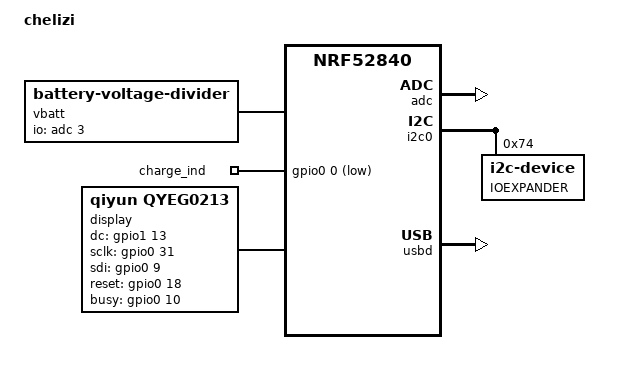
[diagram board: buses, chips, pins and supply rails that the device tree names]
/*
 * Copyright (c) 2020 The ZMK Contributors
 *
 * SPDX-License-Identifier: MIT
 */

/dts-v1/;
#include <nordic/nrf52840_qiaa.dtsi>
#include "chelizi-pinctrl.dtsi"
#include "chelizi-matrix.dtsi"

/ {
    model = "chelizi";
    compatible = "beeender,chelizi";

    chosen {
        zephyr,code-partition = &code_partition;
        zephyr,sram = &sram0;
        zephyr,flash = &flash0;
        zephyr,display = &display;
        zmk,battery = &vbatt;
    };

    vbatt: vbatt {
        compatible = "zmk,battery-voltage-divider";
        io-channels = <&adc 3>;
        output-ohms = <2000000>;
        full-ohms = <(2000000 + 820000)>;
    };

    indicators {
        compatible = "gpio-keys";
        charge_ind {
            gpios = <&gpio0 0 (GPIO_PULL_UP | GPIO_ACTIVE_LOW)>;
        };
    };

    display: display {
        compatible = "qiyun,qyeg0213";
        status = "okay";
        height = <122>;
        width = <250>;

        dc-gpios = <&gpio1 13 GPIO_ACTIVE_HIGH>;
        cs-gpios = <&gpio0 30 GPIO_ACTIVE_HIGH>;
        sclk-gpios = <&gpio0 31 GPIO_ACTIVE_HIGH>;
        sdi-gpios = <&gpio0 9 GPIO_ACTIVE_HIGH>;
        reset-gpios = <&gpio0 18 GPIO_ACTIVE_HIGH>;

        busy-gpios = <&gpio0 10 GPIO_PULL_DOWN>;
    };
};

&adc {
    status = "okay";
};

&gpiote {
    status = "okay";
};

&gpio0 {
    status = "okay";
};

&gpio1 {
    status = "okay";
};

&i2c0 {
    compatible = "nordic,nrf-twi";
    pinctrl-0 = <&i2c0_default>;
    pinctrl-1 = <&i2c0_sleep>;
    pinctrl-names = "default", "sleep";
    status = "okay";

    ioexpander: ioexpander@74{
        compatible = "i2c-device";
        reg = < 0x74 >;
        label = "IOEXPANDER";
    };
};

zephyr_udc0: &usbd {
    status = "okay";
};

&flash0 {
    /*
     * For more information, see:
     * http://docs.zephyrproject.org/latest/devices/dts/flash_partitions.html
     */
    partitions {
        compatible = "fixed-partitions";
        #address-cells = <1>;
        #size-cells = <1>;

        sd_partition: partition@0 {
            reg = <0x00000000 0x00026000>;
        };
        code_partition: partition@26000 {
            reg = <0x00026000 0x000c6000>;
        };

        /*
         * The flash starting at 0x000ec000 and ending at
         * 0x000f3fff is reserved for use by the application.
         */

        /*
         * Storage partition will be used by FCB/LittleFS/NVS
         * if enabled.
         */
        storage_partition: partition@ec000 {
            reg = <0x000ec000 0x00008000>;
        };

        boot_partition: partition@f4000 {
            reg = <0x000f4000 0x0000c000>;
        };
    };
};
